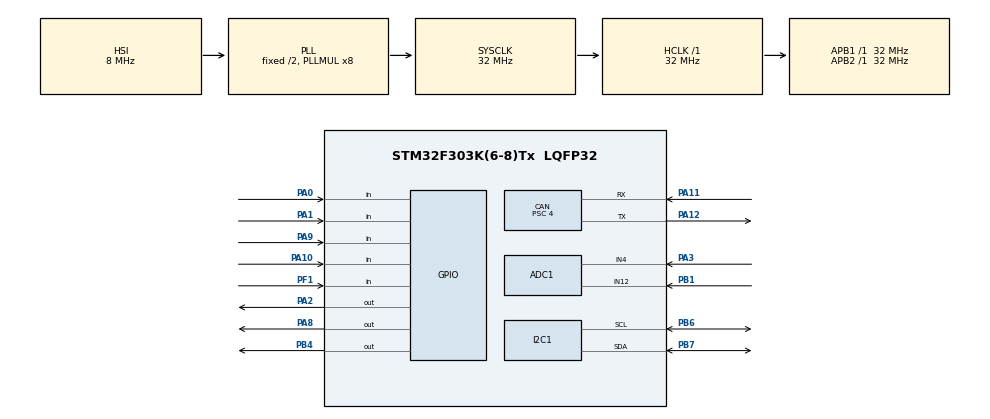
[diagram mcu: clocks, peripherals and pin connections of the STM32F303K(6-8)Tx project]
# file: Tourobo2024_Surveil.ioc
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ADC1.AWD1HighThreshold=2400
ADC1.AWD1ITMode=ENABLE
ADC1.Channel-0\#ChannelRegularConversion=ADC_CHANNEL_4
ADC1.Channel-1\#ChannelRegularConversion=ADC_CHANNEL_12
ADC1.ClockPrescaler=ADC_CLOCK_SYNC_PCLK_DIV4
ADC1.ContinuousConvMode=ENABLE
ADC1.DMAContinuousRequests=ENABLE
ADC1.DiscontinuousConvMode=DISABLE
ADC1.EOCSelection=ADC_EOC_SINGLE_CONV
ADC1.EnableAnalogWatchDog1=true
ADC1.ExternalTrigConv=ADC_SOFTWARE_START
ADC1.NbrOfConversion=2
ADC1.NbrOfConversionFlag=1
ADC1.Offset-0\#ChannelRegularConversion=0
ADC1.Offset-1\#ChannelRegularConversion=0
ADC1.OffsetNumber-0\#ChannelRegularConversion=ADC_OFFSET_NONE
ADC1.OffsetNumber-1\#ChannelRegularConversion=ADC_OFFSET_NONE
ADC1.Rank-0\#ChannelRegularConversion=1
ADC1.Rank-1\#ChannelRegularConversion=2
ADC1.SamplingTime-0\#ChannelRegularConversion=ADC_SAMPLETIME_61CYCLES_5
ADC1.SamplingTime-1\#ChannelRegularConversion=ADC_SAMPLETIME_61CYCLES_5
ADC1.SamplingTimeOPAMP-1\#ChannelRegularConversion=ADC_SAMPLETIME_61CYCLES_5
ADC1.SubFamily=STM32F303x8
ADC1.WatchdogMode=ADC_ANALOGWATCHDOG_ALL_REG
ADC1.master=1
CAN.BS1=CAN_BS1_6TQ
CAN.CalculateBaudRate=1000000
CAN.CalculateTimeBit=1000
CAN.CalculateTimeQuantum=125.0
CAN.Prescaler=4
Dma.ADC1.0.Direction=DMA_PERIPH_TO_MEMORY
Dma.ADC1.0.Instance=DMA1_Channel1
Dma.ADC1.0.MemDataAlignment=DMA_MDATAALIGN_HALFWORD
Dma.ADC1.0.MemInc=DMA_MINC_ENABLE
Dma.ADC1.0.Mode=DMA_CIRCULAR
Dma.ADC1.0.PeriphDataAlignment=DMA_PDATAALIGN_HALFWORD
Dma.ADC1.0.PeriphInc=DMA_PINC_DISABLE
Dma.ADC1.0.Priority=DMA_PRIORITY_HIGH
Dma.Request0=ADC1
I2C1.Timing=0x00201D2B
Mcu.Family=STM32F3
Mcu.Name=STM32F303K(6-8)Tx
Mcu.Package=LQFP32
NVIC.CAN_RX0_IRQn=true\:0\:0\:false\:false\:true\:true\:true\:true
NVIC.DMA1_Channel1_IRQn=true\:0\:0\:false\:false\:true\:false\:true\:true
NVIC.PriorityGroup=NVIC_PRIORITYGROUP_4
NVIC.TIM1_UP_TIM16_IRQn=true\:0\:0\:false\:false\:true\:true\:true\:true
PA0.Signal=GPIO_Input
PA1.Signal=GPIO_Input
PA10.Signal=GPIO_Input
PA11.Mode=CAN_Activate
PA11.Signal=CAN_RX
PA12.Mode=CAN_Activate
PA12.Signal=CAN_TX
PA13.Mode=Trace_Asynchronous_SW
PA13.Signal=SYS_JTMS-SWDIO
PA14.Mode=Trace_Asynchronous_SW
PA14.Signal=SYS_JTCK-SWCLK
PA2.Signal=GPIO_Output
PA3.Mode=IN4-Single-Ended
PA3.Signal=ADC1_IN4
PA8.Signal=GPIO_Output
PA9.Signal=GPIO_Input
PB1.Mode=IN12-Single-Ended
PB1.Signal=ADC1_IN12
PB3.Mode=Trace_Asynchronous_SW
PB3.Signal=SYS_JTDO-TRACESWO
PB4.Signal=GPIO_Output
PB6.Mode=I2C
PB6.Signal=I2C1_SCL
PB7.Mode=I2C
PB7.Signal=I2C1_SDA
PF1\ /\ OSC_OUT.Signal=GPIO_Input
ProjectManager.HeapSize=0x200
ProjectManager.StackSize=0x400
ProjectManager.TargetToolchain=STM32CubeIDE
RCC.AHBFreq_Value=32000000
RCC.APB1Freq_Value=32000000
RCC.APB1TimFreq_Value=32000000
RCC.APB2Freq_Value=32000000
RCC.APB2TimFreq_Value=32000000
RCC.CortexFreq_Value=32000000
RCC.HCLKFreq_Value=32000000
RCC.HSE_VALUE=8000000
RCC.HSI_VALUE=8000000
RCC.PLLMUL=RCC_PLL_MUL8
RCC.SYSCLKFreq_VALUE=32000000
RCC.SYSCLKSourceVirtual=RCC_SYSCLKSOURCE_PLLCLK
TIM16.AutoReloadPreload=TIM_AUTORELOAD_PRELOAD_ENABLE
TIM16.Period=999
TIM16.Prescaler=7199
VP_TIM16_VS_ClockSourceINT.Mode=Enable_Timer
board=custom

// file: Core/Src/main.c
/* USER CODE BEGIN Header */
/**
  ******************************************************************************
  * @file           : main.c
  * @brief          : Main program body
  ******************************************************************************
  * @attention
  *
  * Copyright (c) 2024 STMicroelectronics.
  * All rights reserved.
  *
  * This software is licensed under terms that can be found in the LICENSE file
  * in the root directory of this software component.
  * If no LICENSE file comes with this software, it is provided AS-IS.
  *
  ******************************************************************************
  */
/* USER CODE END Header */
#include "main.h"

/* USER CODE BEGIN Includes */
#include <stdbool.h>
/* USER CODE END Includes */

/* USER CODE BEGIN PD */
#define KAI 0
#define KON 1
#define CAN_SIZE 8
#define BUF_SIZE 2
#define MASTER_ID 0x010

#define DEBUG
/* USER CODE END PD */

ADC_HandleTypeDef hadc1;
DMA_HandleTypeDef hdma_adc1;

CAN_HandleTypeDef hcan;

I2C_HandleTypeDef hi2c1;

TIM_HandleTypeDef htim16;

void SystemClock_Config(void);
static void MX_GPIO_Init(void);
static void MX_DMA_Init(void);
static void MX_ADC1_Init(void);
static void MX_CAN_Init(void);
static void MX_I2C1_Init(void);
static void MX_TIM16_Init(void);

/* USER CODE BEGIN 0 */
enum RX_COMMAND{
	SET_THRE=0x00, START, STOP, ASK
};

volatile uint16_t adc_buf[BUF_SIZE] = {100u};
volatile float current_threshold[BUF_SIZE] = {0.0f, 0.0f};
volatile bool return_flag;
volatile bool states[2];
/* USER CODE END 0 */

int main(void)
{

  /* MCU Configuration--------------------------------------------------------*/

  /* Reset of all peripherals, Initializes the Flash interface and the Systick. */
  HAL_Init();

  /* Configure the system clock */
  SystemClock_Config();

  /* Initialize all configured peripherals */
  MX_GPIO_Init();
  MX_DMA_Init();
  MX_ADC1_Init();
  MX_CAN_Init();
  MX_I2C1_Init();
  MX_TIM16_Init();
  /* USER CODE BEGIN 2 */
  HAL_CAN_Start(&hcan);
  HAL_CAN_ActivateNotification(&hcan, CAN_IT_RX_FIFO0_MSG_PENDING);
  HAL_ADC_Start_DMA(&hadc1, adc_buf, BUF_SIZE);
  HAL_TIM_Base_Stop_IT(&htim16);
  HAL_GPIO_WritePin(GPIOB, GPIO_PIN_4, GPIO_PIN_SET);

  return_flag = false;

#ifdef DEBUG
  current_threshold[KAI] = 1.0f;
  current_threshold[KON] = 1.4f;

  states[KAI] = states[KON] = true;

  HAL_GPIO_WritePin(GPIOA, GPIO_PIN_2, GPIO_PIN_SET);
  HAL_GPIO_WritePin(GPIOA, GPIO_PIN_8, GPIO_PIN_SET);
  HAL_TIM_Base_Start_IT(&htim16);
#endif
  /* USER CODE END 2 */

  /* Infinite loop */
  /* USER CODE BEGIN WHILE */
  while (1)
  {
	  if(HAL_GPIO_ReadPin(GPIOA, GPIO_PIN_10) == GPIO_PIN_RESET){
		  HAL_GPIO_WritePin(GPIOB, GPIO_PIN_4, GPIO_PIN_RESET);
		  HAL_Delay(100);
		  HAL_GPIO_WritePin(GPIOB, GPIO_PIN_4, GPIO_PIN_SET);
		  HAL_Delay(100);
	  }
    /* USER CODE END WHILE */

  }
}

void SystemClock_Config(void)
{
  RCC_OscInitTypeDef RCC_OscInitStruct = {0};
  RCC_ClkInitTypeDef RCC_ClkInitStruct = {0};
  RCC_PeriphCLKInitTypeDef PeriphClkInit = {0};

  /** Initializes the RCC Oscillators according to the specified parameters
  * in the RCC_OscInitTypeDef structure.
  */
  RCC_OscInitStruct.OscillatorType = RCC_OSCILLATORTYPE_HSI;
  RCC_OscInitStruct.HSIState = RCC_HSI_ON;
  RCC_OscInitStruct.HSICalibrationValue = RCC_HSICALIBRATION_DEFAULT;
  RCC_OscInitStruct.PLL.PLLState = RCC_PLL_ON;
  RCC_OscInitStruct.PLL.PLLSource = RCC_PLLSOURCE_HSI;
  RCC_OscInitStruct.PLL.PLLMUL = RCC_PLL_MUL8;
  if (HAL_RCC_OscConfig(&RCC_OscInitStruct) != HAL_OK)
  {
    Error_Handler();
  }

  /** Initializes the CPU, AHB and APB buses clocks
  */
  RCC_ClkInitStruct.ClockType = RCC_CLOCKTYPE_HCLK|RCC_CLOCKTYPE_SYSCLK
                              |RCC_CLOCKTYPE_PCLK1|RCC_CLOCKTYPE_PCLK2;
  RCC_ClkInitStruct.SYSCLKSource = RCC_SYSCLKSOURCE_PLLCLK;
  RCC_ClkInitStruct.AHBCLKDivider = RCC_SYSCLK_DIV1;
  RCC_ClkInitStruct.APB1CLKDivider = RCC_HCLK_DIV1;
  RCC_ClkInitStruct.APB2CLKDivider = RCC_HCLK_DIV1;

  if (HAL_RCC_ClockConfig(&RCC_ClkInitStruct, FLASH_LATENCY_1) != HAL_OK)
  {
    Error_Handler();
  }
  PeriphClkInit.PeriphClockSelection = RCC_PERIPHCLK_I2C1;
  PeriphClkInit.I2c1ClockSelection = RCC_I2C1CLKSOURCE_HSI;
  if (HAL_RCCEx_PeriphCLKConfig(&PeriphClkInit) != HAL_OK)
  {
    Error_Handler();
  }
}

static void MX_ADC1_Init(void)
{

  ADC_MultiModeTypeDef multimode = {0};
  ADC_AnalogWDGConfTypeDef AnalogWDGConfig = {0};
  ADC_ChannelConfTypeDef sConfig = {0};

  /** Common config
  */
  hadc1.Instance = ADC1;
  hadc1.Init.ClockPrescaler = ADC_CLOCK_SYNC_PCLK_DIV4;
  hadc1.Init.Resolution = ADC_RESOLUTION_12B;
  hadc1.Init.ScanConvMode = ADC_SCAN_ENABLE;
  hadc1.Init.ContinuousConvMode = ENABLE;
  hadc1.Init.DiscontinuousConvMode = DISABLE;
  hadc1.Init.ExternalTrigConvEdge = ADC_EXTERNALTRIGCONVEDGE_NONE;
  hadc1.Init.ExternalTrigConv = ADC_SOFTWARE_START;
  hadc1.Init.DataAlign = ADC_DATAALIGN_RIGHT;
  hadc1.Init.NbrOfConversion = 2;
  hadc1.Init.DMAContinuousRequests = ENABLE;
  hadc1.Init.EOCSelection = ADC_EOC_SINGLE_CONV;
  hadc1.Init.LowPowerAutoWait = DISABLE;
  hadc1.Init.Overrun = ADC_OVR_DATA_OVERWRITTEN;
  if (HAL_ADC_Init(&hadc1) != HAL_OK)
  {
    Error_Handler();
  }

  /** Configure the ADC multi-mode
  */
  multimode.Mode = ADC_MODE_INDEPENDENT;
  if (HAL_ADCEx_MultiModeConfigChannel(&hadc1, &multimode) != HAL_OK)
  {
    Error_Handler();
  }

  /** Configure Analog WatchDog 1
  */
  AnalogWDGConfig.WatchdogNumber = ADC_ANALOGWATCHDOG_1;
  AnalogWDGConfig.WatchdogMode = ADC_ANALOGWATCHDOG_ALL_REG;
  AnalogWDGConfig.HighThreshold = 2400;
  AnalogWDGConfig.LowThreshold = 0;
  AnalogWDGConfig.ITMode = ENABLE;
  if (HAL_ADC_AnalogWDGConfig(&hadc1, &AnalogWDGConfig) != HAL_OK)
  {
    Error_Handler();
  }

  /** Configure Regular Channel
  */
  sConfig.Channel = ADC_CHANNEL_4;
  sConfig.Rank = ADC_REGULAR_RANK_1;
  sConfig.SingleDiff = ADC_SINGLE_ENDED;
  sConfig.SamplingTime = ADC_SAMPLETIME_61CYCLES_5;
  sConfig.OffsetNumber = ADC_OFFSET_NONE;
  sConfig.Offset = 0;
  if (HAL_ADC_ConfigChannel(&hadc1, &sConfig) != HAL_OK)
  {
    Error_Handler();
  }

  /** Configure Regular Channel
  */
  sConfig.Channel = ADC_CHANNEL_12;
  sConfig.Rank = ADC_REGULAR_RANK_2;
  if (HAL_ADC_ConfigChannel(&hadc1, &sConfig) != HAL_OK)
  {
    Error_Handler();
  }

}

static void MX_CAN_Init(void)
{

  hcan.Instance = CAN;
  hcan.Init.Prescaler = 4;
  hcan.Init.Mode = CAN_MODE_NORMAL;
  hcan.Init.SyncJumpWidth = CAN_SJW_1TQ;
  hcan.Init.TimeSeg1 = CAN_BS1_6TQ;
  hcan.Init.TimeSeg2 = CAN_BS2_1TQ;
  hcan.Init.TimeTriggeredMode = DISABLE;
  hcan.Init.AutoBusOff = DISABLE;
  hcan.Init.AutoWakeUp = DISABLE;
  hcan.Init.AutoRetransmission = DISABLE;
  hcan.Init.ReceiveFifoLocked = DISABLE;
  hcan.Init.TransmitFifoPriority = DISABLE;
  if (HAL_CAN_Init(&hcan) != HAL_OK)
  {
    Error_Handler();
  }
  /* USER CODE BEGIN CAN_Init 2 */
  CAN_FilterTypeDef filter;
  uint32_t fId   =  0x010 << 21;        // フィルターID
  uint32_t fMask = (0x7F0 << 21) | 0x4; // フィルターマスク

  filter.FilterIdHigh         = fId >> 16;             // フィルターIDの上位16ビット
  filter.FilterIdLow          = fId;                   // フィルターIDの下位16ビット
  filter.FilterMaskIdHigh     = fMask >> 16;           // フィルターマスクの上位16ビット
  filter.FilterMaskIdLow      = fMask;                 // フィルターマスクの下位16ビット
  filter.FilterScale          = CAN_FILTERSCALE_32BIT; // 32モード
  filter.FilterFIFOAssignment = CAN_FILTER_FIFO0;      // FIFO0へ格納
  filter.FilterBank           = 0;
  filter.FilterMode           = CAN_FILTERMODE_IDMASK; // IDマスクモード
  filter.SlaveStartFilterBank = 0;
  filter.FilterActivation     = ENABLE;

  HAL_CAN_ConfigFilter(&hcan, &filter);
  /* USER CODE END CAN_Init 2 */

}

static void MX_I2C1_Init(void)
{

  hi2c1.Instance = I2C1;
  hi2c1.Init.Timing = 0x00201D2B;
  hi2c1.Init.OwnAddress1 = 0;
  hi2c1.Init.AddressingMode = I2C_ADDRESSINGMODE_7BIT;
  hi2c1.Init.DualAddressMode = I2C_DUALADDRESS_DISABLE;
  hi2c1.Init.OwnAddress2 = 0;
  hi2c1.Init.OwnAddress2Masks = I2C_OA2_NOMASK;
  hi2c1.Init.GeneralCallMode = I2C_GENERALCALL_DISABLE;
  hi2c1.Init.NoStretchMode = I2C_NOSTRETCH_DISABLE;
  if (HAL_I2C_Init(&hi2c1) != HAL_OK)
  {
    Error_Handler();
  }

  /** Configure Analogue filter
  */
  if (HAL_I2CEx_ConfigAnalogFilter(&hi2c1, I2C_ANALOGFILTER_ENABLE) != HAL_OK)
  {
    Error_Handler();
  }

  /** Configure Digital filter
  */
  if (HAL_I2CEx_ConfigDigitalFilter(&hi2c1, 0) != HAL_OK)
  {
    Error_Handler();
  }

}

static void MX_TIM16_Init(void)
{

  htim16.Instance = TIM16;
  htim16.Init.Prescaler = 7199;
  htim16.Init.CounterMode = TIM_COUNTERMODE_UP;
  htim16.Init.Period = 999;
  htim16.Init.ClockDivision = TIM_CLOCKDIVISION_DIV1;
  htim16.Init.RepetitionCounter = 0;
  htim16.Init.AutoReloadPreload = TIM_AUTORELOAD_PRELOAD_ENABLE;
  if (HAL_TIM_Base_Init(&htim16) != HAL_OK)
  {
    Error_Handler();
  }

}

static void MX_DMA_Init(void)
{

  /* DMA controller clock enable */
  __HAL_RCC_DMA1_CLK_ENABLE();

  /* DMA interrupt init */
  /* DMA1_Channel1_IRQn interrupt configuration */
  HAL_NVIC_SetPriority(DMA1_Channel1_IRQn, 0, 0);
  HAL_NVIC_EnableIRQ(DMA1_Channel1_IRQn);

}

static void MX_GPIO_Init(void)
{
  GPIO_InitTypeDef GPIO_InitStruct = {0};

  /* GPIO Ports Clock Enable */
  __HAL_RCC_GPIOF_CLK_ENABLE();
  __HAL_RCC_GPIOA_CLK_ENABLE();
  __HAL_RCC_GPIOB_CLK_ENABLE();

  /*Configure GPIO pin Output Level */
  HAL_GPIO_WritePin(GPIOA, GPIO_PIN_2|GPIO_PIN_8, GPIO_PIN_RESET);

  /*Configure GPIO pin Output Level */
  HAL_GPIO_WritePin(GPIOB, GPIO_PIN_4, GPIO_PIN_RESET);

  /*Configure GPIO pin : PF1 */
  GPIO_InitStruct.Pin = GPIO_PIN_1;
  GPIO_InitStruct.Mode = GPIO_MODE_INPUT;
  GPIO_InitStruct.Pull = GPIO_NOPULL;
  HAL_GPIO_Init(GPIOF, &GPIO_InitStruct);

  /*Configure GPIO pins : PA0 PA1 PA9 PA10 */
  GPIO_InitStruct.Pin = GPIO_PIN_0|GPIO_PIN_1|GPIO_PIN_9|GPIO_PIN_10;
  GPIO_InitStruct.Mode = GPIO_MODE_INPUT;
  GPIO_InitStruct.Pull = GPIO_NOPULL;
  HAL_GPIO_Init(GPIOA, &GPIO_InitStruct);

  /*Configure GPIO pins : PA2 PA8 */
  GPIO_InitStruct.Pin = GPIO_PIN_2|GPIO_PIN_8;
  GPIO_InitStruct.Mode = GPIO_MODE_OUTPUT_PP;
  GPIO_InitStruct.Pull = GPIO_NOPULL;
  GPIO_InitStruct.Speed = GPIO_SPEED_FREQ_LOW;
  HAL_GPIO_Init(GPIOA, &GPIO_InitStruct);

  /*Configure GPIO pin : PB4 */
  GPIO_InitStruct.Pin = GPIO_PIN_4;
  GPIO_InitStruct.Mode = GPIO_MODE_OUTPUT_PP;
  GPIO_InitStruct.Pull = GPIO_NOPULL;
  GPIO_InitStruct.Speed = GPIO_SPEED_FREQ_LOW;
  HAL_GPIO_Init(GPIOB, &GPIO_InitStruct);

}

/* USER CODE BEGIN 4 */
void HAL_CAN_RxFifo0MsgPendingCallback(CAN_HandleTypeDef *hcan_)
{
    CAN_RxHeaderTypeDef rx_header;
    uint8_t rx_data[8];
    if (HAL_CAN_GetRxMessage(&hcan, CAN_RX_FIFO0, &rx_header, rx_data) == HAL_OK){
    	switch(rx_data[0]){
    		case SET_THRE:
    			current_threshold[KAI] = (rx_data[1]<<8 | rx_data[2])/10.0f;
    			current_threshold[KON] = (rx_data[3]<<8 | rx_data[4])/10.0f;

    			states[KAI] = true;
    			states[KON] = true;

    			HAL_TIM_Base_Stop_IT(&htim16);
    			HAL_TIM_Base_Start_IT(&htim16);
    			HAL_GPIO_WritePin(GPIOA, GPIO_PIN_2, SET);
    			HAL_GPIO_WritePin(GPIOA, GPIO_PIN_8, SET);
    			return_flag = true;
    			break;
    		case START:
    			HAL_TIM_Base_Stop_IT(&htim16);
    			HAL_TIM_Base_Start_IT(&htim16);
    			if(rx_data[1]){
					HAL_GPIO_WritePin(GPIOA, GPIO_PIN_2, SET);
					states[KAI] = true;
				}
    			if(rx_data[2]){
    				HAL_GPIO_WritePin(GPIOA, GPIO_PIN_8, SET);
    				states[KON] = true;
				}
    			return_flag = true;
    			break;
    		case STOP:
    			if(rx_data[1]){
					HAL_GPIO_WritePin(GPIOA, GPIO_PIN_2, RESET);
					states[KAI] = false;
				}
    			if(rx_data[2]){
    				HAL_GPIO_WritePin(GPIOA, GPIO_PIN_8, RESET);
    				states[KON] = false;
				}

    			if(!states[KAI] && states[KON]){
					HAL_TIM_Base_Stop_IT(&htim16);
    			}
				break;
    		case ASK:
    			uint16_t current_data[2];

    			current_data[KAI] = (uint16_t)(adc_buf[KAI]*4096.0f/13.2f*10);
    			current_data[KON] = (uint16_t)(adc_buf[KON]*4096.0f/13.2f*10);

    			CAN_TxHeaderTypeDef tx_header;
    			uint32_t tx_mailbox;
    			uint8_t tx_data[CAN_SIZE];
    			if(HAL_CAN_GetTxMailboxesFreeLevel(&hcan)>0){
    				tx_header.StdId = MASTER_ID;
    				tx_header.RTR = CAN_RTR_DATA;
    				tx_header.IDE = CAN_ID_EXT;
    				tx_header.DLC = CAN_SIZE;
    				tx_header.TransmitGlobalTime = DISABLE;
    				tx_data[0] = ASK;
    				tx_data[1] = current_data[KAI]>>8;
    				tx_data[2] = current_data[KAI]&0xff;
    				tx_data[3] = current_data[KON]>>8;
    				tx_data[4] = current_data[KON]&0xff;
    				HAL_CAN_AddTxMessage(&hcan, &tx_header, tx_data, &tx_mailbox);
    			}
    			break;
    	}
    }
}

void HAL_TIM_PeriodElapsedCallback(TIM_HandleTypeDef* htim){
	float current_buf[BUF_SIZE];
	if(htim->Instance == TIM16){
		current_buf[KAI] = ((float)adc_buf[KAI]*3.3f/4096.0f-0.27)/(13.2f*2.7/3.3)*1000;
		current_buf[KON] = ((float)adc_buf[KON]*3.3f/4096.0f-0.27)/(13.2f*2.7/3.3)*1000;

		if(current_buf[0]>current_threshold[0]){
			HAL_GPIO_WritePin(GPIOA, GPIO_PIN_2, RESET);
    		states[KAI] = false;
		}
		if(current_buf[1]>current_threshold[1]){
			HAL_GPIO_WritePin(GPIOA, GPIO_PIN_8, RESET);
    		states[KON] = false;
		}

		if(return_flag){
			CAN_TxHeaderTypeDef tx_header;
			uint32_t tx_mailbox;
			uint8_t tx_data[CAN_SIZE];
			if(HAL_CAN_GetTxMailboxesFreeLevel(&hcan)>0){
				tx_header.StdId = MASTER_ID;
				tx_header.RTR = CAN_RTR_DATA;
				tx_header.IDE = CAN_ID_EXT;
				tx_header.DLC = CAN_SIZE;
				tx_header.TransmitGlobalTime = DISABLE;
				tx_data[0] = START;
				tx_data[1] = states[KAI];
				tx_data[2] = states[KON];
				HAL_CAN_AddTxMessage(&hcan, &tx_header, tx_data, &tx_mailbox);
			}

			return_flag = false;
		}
	}
}

void HAL_ADC_LevelOutOfWindowCallback(ADC_HandleTypeDef* hadc){
	if(hadc->Instance == ADC1){
		HAL_GPIO_WritePin(GPIOA, GPIO_PIN_2, RESET);
		HAL_GPIO_WritePin(GPIOA, GPIO_PIN_8, RESET);

		states[KAI] = false;
		states[KON] = false;

		CAN_TxHeaderTypeDef tx_header;
		uint32_t tx_mailbox;
		uint8_t tx_data[CAN_SIZE];
		if(HAL_CAN_GetTxMailboxesFreeLevel(&hcan)>0){
			tx_header.StdId = MASTER_ID;
			tx_header.RTR = CAN_RTR_DATA;
			tx_header.IDE = CAN_ID_EXT;
			tx_header.DLC = CAN_SIZE;
			tx_header.TransmitGlobalTime = DISABLE;
			tx_data[0] = STOP;
			tx_data[1] = states[KAI];
			tx_data[2] = states[KON];
			HAL_CAN_AddTxMessage(&hcan, &tx_header, tx_data, &tx_mailbox);
		}
	}
}
/* USER CODE END 4 */

void Error_Handler(void)
{
  __disable_irq();
  while (1)
  {
  }
}
